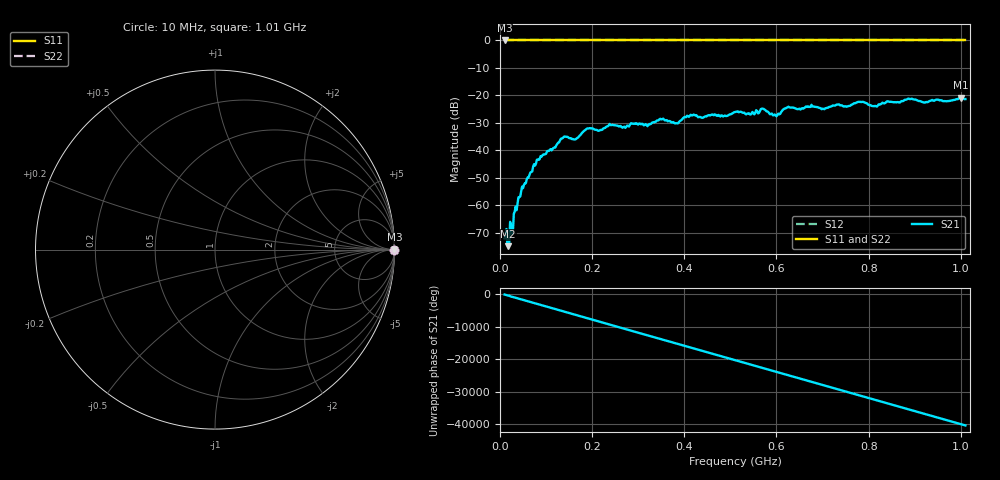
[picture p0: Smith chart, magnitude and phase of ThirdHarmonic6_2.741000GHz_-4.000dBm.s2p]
! 8/17/2025 6:47:56 AM
! C:\ANRITSUVNA\TEMP\TEMP.S2P
! CHANNEL.1
! TR.MEASUREMENT
! RAW.DATA
! RF.CORRECTION.OFF
! AVERAGING.OFF
! IF.BANDWIDTH: 5KHZ
! SWEEPTYPE:  FREQ.SWEEP(Linear)
! Reference Plane Port Info
! PORT:  PORT1  PORT2
! DISTANCE:  0  m  0  m
! TIME:  0  s  0  s
! PHASE.OFFSET:  0  deg.  0  deg.
! LOSS:  0  dB  0  dB
! REF.LOSS:  0  dB  0  dB
! REF.FREQ:  0  Hz  0  Hz
! Power Info
! POWER:  -20  dBm  -20  dBm
! EFF.POWER:  -20  dBm  -20  dBm
! SOURCE.ATTEN:  0  dB  0  dB
! TEST.ATTEN:  0  dB  0  dB
# GHZ S RI R 50.0
! FREQ.GHZ  S11RE  S11IM  S21RE  S21IM  S12RE  S12IM  S22RE  S22IM
!; PortSelection: Port_12
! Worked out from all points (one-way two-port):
!   501 points, 10 MHz to 1.01 GHz, reference 50 ohm
!   highest |S21| = -20.78 dB at 1 GHz (marker M1); lowest = -74.8 dB at 18 MHz (marker M2)
!   lowest |S11| = 0.0 dB at 10 MHz (marker M3)
!   |S11| at or under -10 dB: nowhere
!   |S22| runs from 0.0 to 0.0 dB; largest |S21 - S12| = 1.1
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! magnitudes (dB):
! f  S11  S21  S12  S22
! 10 MHz  0.0  -72.0  0.0  0.0
! 18 MHz  0.0  -74.8  0.0  0.0
! 24 MHz  0.0  -67.4  0.0  0.0
! 44 MHz  0.0  -56.7  0.0  0.0
! 78 MHz  0.0  -44.8  0.0  0.0
! 136 MHz  0.0  -35.6  0.0  0.0
! 164 MHz  0.0  -35.9  0.0  0.0
! 178 MHz  0.0  -33.6  0.0  0.0
! 344 MHz  0.0  -29.0  0.0  0.0
! 382 MHz  0.0  -30.1  0.0  0.0
! 416 MHz  0.0  -27.3  0.0  0.0
! 510 MHz  0.0  -26.0  0.0  0.0
! 570 MHz  0.0  -24.8  0.0  0.0
! 598 MHz  0.0  -27.3  0.0  0.0
! 624 MHz  0.0  -24.3  0.0  0.0
! 678 MHz  0.0  -24.0  0.0  0.0
! 702 MHz  0.0  -24.9  0.0  0.0
! 782 MHz  0.0  -22.3  0.0  0.0
! 814 MHz  0.0  -23.8  0.0  0.0
! 844 MHz  0.0  -22.3  0.0  0.0
! 1 GHz  0.0  -20.8  0.0  0.0
! 1.01 GHz  0.0  -21.3  0.0  0.0
